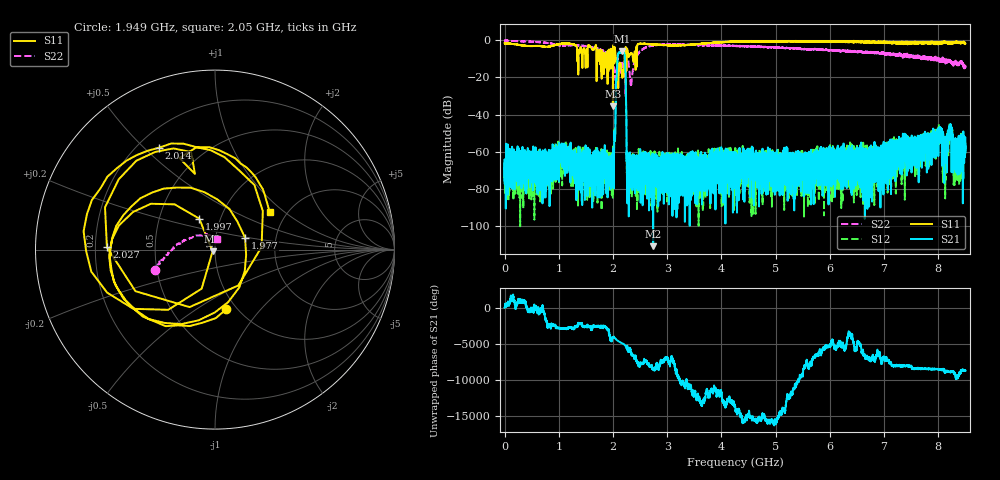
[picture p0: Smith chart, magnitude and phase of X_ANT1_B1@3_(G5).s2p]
#  HZ  S  RI  R  50.00
! Rohde & Schwarz Vector Network Analyzer
! Rohde-Schwarz,ZNBT8-20Port,1318700624101681,3.50
! Created: UTC 7/15/2025, 2:08:47 PM
! freq[Hz]  re:S1010  im:S1010  re:S0310  im:S0310  re:S1003  im:S1003  re:S33  im:S33
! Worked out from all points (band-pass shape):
!   8500 points, 1 MHz to 8.5 GHz, reference 50 ohm
!   highest |S21| = -5.93 dB at 2.167 GHz (marker M1); lowest = -110.8 dB at 2.741 GHz (marker M2)
!   |S21| within 3 dB of the highest: 2.086 GHz to 2.218 GHz (132.1 MHz wide, 6.14 % of centre)
!   lowest |S11| = -35.6 dB at 1.998 GHz (marker M3), VSWR 1.03, Z = 48.7 - j0.964 ohm
!   |S11| at or under -10 dB: 1.856 GHz to 1.87 GHz (13.51 MHz wide, 0.725 % of centre); 2.059 GHz to 2.212 GHz (152.3 MHz wide, 7.13 % of centre); 2.368 GHz to 2.383 GHz (14.49 MHz wide, 0.61 % of centre)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
!   |S22| runs from -34.3 to -0.1 dB; largest |S21 - S12| = 0.021
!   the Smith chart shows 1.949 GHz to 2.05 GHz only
!   S11 on the Smith chart (normalised r, x): 1.949 GHz: 0.90, -0.67; 1.977 GHz: 1.39, +0.19; 1.997 GHz: 0.79, +0.28; 2.014 GHz: 0.28, +0.55; 2.027 GHz: 0.25, +0.01; 2.05 GHz: 1.64, +0.79
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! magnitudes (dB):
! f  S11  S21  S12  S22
! 1 MHz  -1.6  -73.2  -77.1  -0.2
! 1.418 GHz  -5.2  -69.6  -66.7  -2.9
! 1.949 GHz  -9.4  -74.4  -66.6  -9.0
! 1.977 GHz  -14.9  -78.9  -72.0  -10.6
! 1.997 GHz  -14.3  -66.8  -65.9  -12.2
! 1.998 GHz  -35.6  -65.6  -62.8  -12.2
! 2.014 GHz  -3.8  -63.1  -67.8  -13.8
! 2.027 GHz  -4.4  -48.7  -48.9  -16.2
! 2.05 GHz  -8.7  -32.9  -33.0  -24.1
! 2.094 GHz  -23.0  -7.4  -7.4  -12.0
! 2.167 GHz  -19.8  -5.9  -6.1  -12.5
! 2.206 GHz  -14.2  -6.7  -6.7  -13.8
! 2.296 GHz  -8.5  -76.4  -71.6  -14.1
! 2.741 GHz  -2.3  -110.8  -64.9  -2.8
! 2.834 GHz  -2.4  -89.2  -75.7  -2.6
! 4.251 GHz  -0.7  -67.3  -72.6  -3.0
! 5.667 GHz  -0.4  -73.4  -67.2  -5.0
! 7.084 GHz  -1.1  -54.6  -73.4  -7.2
! 8.015 GHz  -1.4  -50.4  -47.9  -10.4
! 8.117 GHz  -0.7  -56.1  -60.3  -11.1
! 8.217 GHz  -1.6  -46.9  -49.1  -11.6
! 8.5 GHz  -1.9  -57.3  -56.5  -14.0
